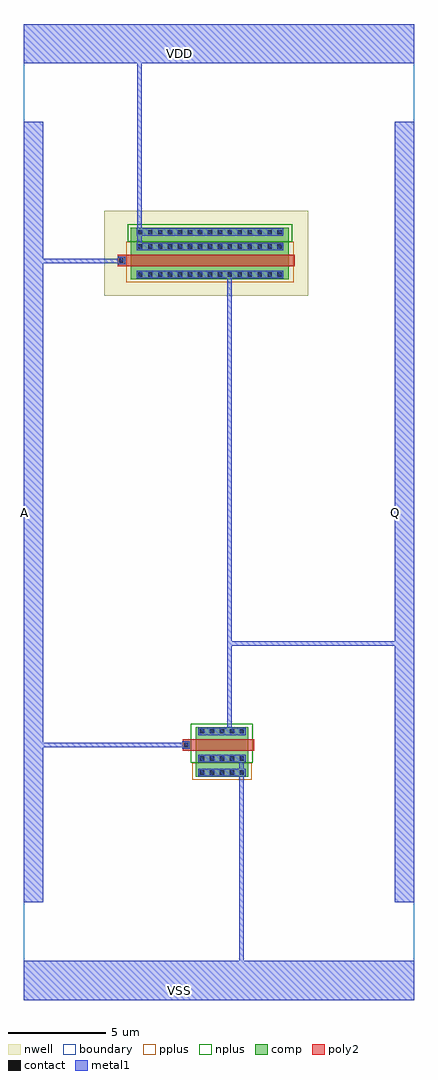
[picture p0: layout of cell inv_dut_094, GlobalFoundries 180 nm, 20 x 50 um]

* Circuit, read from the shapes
.subckt inv_dut_094 A Q VDD VSS
XM1 Q A VSS VSS nfet_03v3 w=2.7u l=0.6u
XM2 VDD A Q VDD pfet_03v3 w=8.1u l=0.6u
.ends

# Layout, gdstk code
from math import pi, radians
import gdstk
lib = gdstk.Library(unit=1e-6, precision=1e-09)
def R(c, l, rs):  # rectangles x0, y0, x1, y1
    for r in rs: c.add(gdstk.rectangle(r[:2], r[2:], *l))
def A(c, l, x, y, w, h, nx, ny, dx, dy):  # array of equal rectangles
    R(c, l, [(x+i*dx, y+j*dy, x+i*dx+w, y+j*dy+h) for i in range(nx) for j in range(ny)])
boundary = (0, 0)
nwell = (21, 0)
comp = (22, 0)
poly2 = (30, 0)
pplus = (31, 0)
nplus = (32, 0)
contact = (33, 0)
metal1 = (34, 0)

pfet = lib.new_cell('pfet')
R(pfet, nwell, [(-1.32,-0.99,3.03,9.47)])
R(pfet, comp, [(-0.46,0,2.17,8.1)])
R(pfet, poly2, [(0.19,-0.3,0.79,8.78)])
R(pfet, pplus, [(-0.63,-0.24,1.44,8.34)])
R(pfet, nplus, [(1.44,-0.17,2.34,8.27)])
A(pfet, contact, -0.34, 0.37, 0.22, 0.22, 1, 15, 0, 0.51)
A(pfet, contact, 1.1, 0.37, 0.22, 0.22, 1, 15, 0, 0.51)
A(pfet, contact, 1.83, 0.37, 0.22, 0.22, 1, 15, 0, 0.51)
R(pfet, contact, [(0.38,8.48,0.6,8.7)])
R(pfet, metal1, [(-0.42,0.29,-0.04,7.81), (1.02,0.29,1.4,7.81), (1.75,0.29,2.13,7.81), (0.3,8.4,0.68,8.78)])

nfet = lib.new_cell('nfet')
R(nfet, comp, [(-0.42,0,2.11,2.7)])
R(nfet, poly2, [(0.19,-0.3,0.79,3.36)])
R(nfet, pplus, [(1.4,-0.17,2.28,2.87)])
R(nfet, nplus, [(-0.59,-0.24,1.4,2.94)])
A(nfet, contact, -0.32, 0.22, 0.22, 0.22, 1, 5, 0, 0.51)
A(nfet, contact, 1.08, 0.22, 0.22, 0.22, 1, 5, 0, 0.51)
A(nfet, contact, 1.79, 0.22, 0.22, 0.22, 1, 5, 0, 0.51)
R(nfet, contact, [(0.38,3.07,0.6,3.29)])
R(nfet, metal1, [(-0.4,0.14,-0.02,2.56), (1,0.14,1.38,2.56), (1.71,0.14,2.09,2.56), (0.3,2.99,0.68,3.37)])

inv_dut_094 = lib.new_cell('inv_dut_094')
R(inv_dut_094, boundary, [(-10,-25,10,25)])
R(inv_dut_094, metal1, [(-10,-25,10,-23), (-10,-20,-9,20), (9,-20,10,20), (-10,23,10,25)])
inv_dut_094.add(gdstk.FlexPath([(-4.065,13.585),(-4.065,23.625)], 0.23, ends="flush", simple_path=True, layer=34, datatype=0))  # metal1
inv_dut_094.add(gdstk.FlexPath([(-5.02,12.855),(-9.39,12.855)], 0.23, ends="flush", simple_path=True, layer=34, datatype=0))  # metal1
inv_dut_094.add(gdstk.FlexPath([(0.55,12.135),(0.55,-11.25)], 0.23, ends="flush", simple_path=True, layer=34, datatype=0))  # metal1
inv_dut_094.add(gdstk.FlexPath([(0.55,-6.725),(9.44,-6.725)], 0.23, ends="flush", simple_path=True, layer=34, datatype=0))  # metal1
inv_dut_094.add(gdstk.FlexPath([(-1.685,-11.925),(-9.345,-11.925)], 0.23, ends="flush", simple_path=True, layer=34, datatype=0))  # metal1
inv_dut_094.add(gdstk.FlexPath([(1.165,-13.355),(1.165,-23.935)], 0.23, ends="flush", simple_path=True, layer=34, datatype=0))  # metal1
inv_dut_094.add(gdstk.FlexPath([(1.165,-13.48),(1.165,-12.68)], 0.23, ends="flush", simple_path=True, layer=34, datatype=0))  # metal1
inv_dut_094.add(gdstk.Reference(pfet, (3.585,12.395), rotation=pi/2))
inv_dut_094.add(gdstk.Reference(nfet, (1.5,-11.445), rotation=3*pi/2, x_reflection=True))
inv_dut_094.add(gdstk.Label('VDD', (-2,23.5), layer=34, texttype=10))
inv_dut_094.add(gdstk.Label('VSS', (-2,-24.5), layer=34, texttype=10))
inv_dut_094.add(gdstk.Label('A', (-9.97,0), layer=34, texttype=10))
inv_dut_094.add(gdstk.Label('Q', (9.03,0), layer=34, texttype=10))

lib.write_gds('inv_dut_094.gds')
